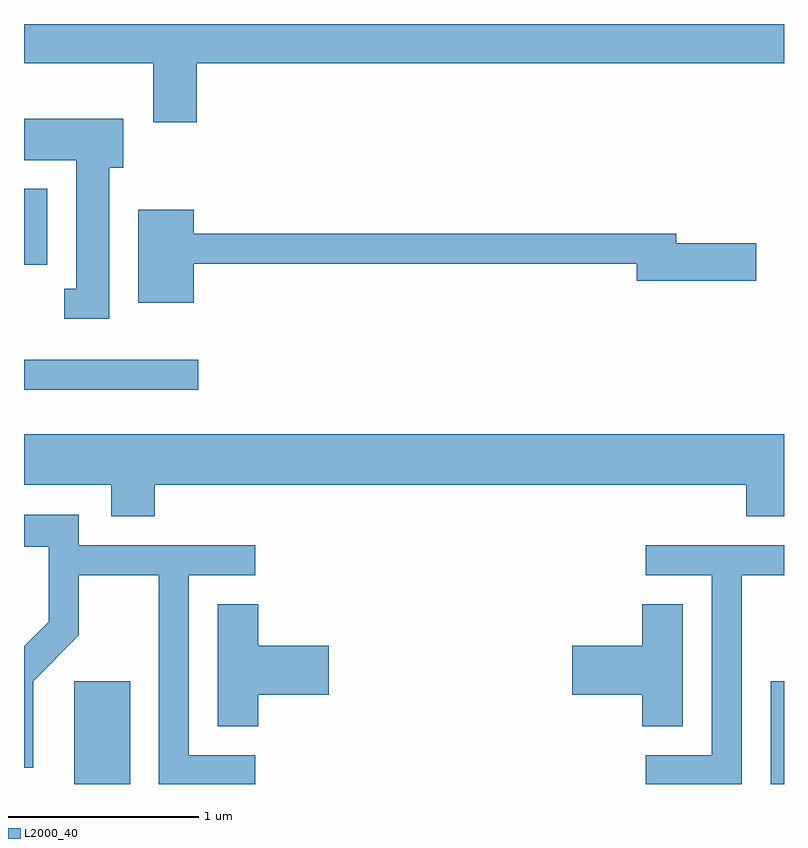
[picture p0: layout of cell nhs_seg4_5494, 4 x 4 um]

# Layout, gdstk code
import gdstk
lib = gdstk.Library(unit=1e-6, precision=1e-09)
def R(c, l, rs):  # rectangles x0, y0, x1, y1
    for r in rs: c.add(gdstk.rectangle(r[:2], r[2:], *l))
def P(c, l, *ps):  # polygons
    for p in ps: c.add(gdstk.Polygon(p, *l))
L2000_40 = (2000, 40)

nhs_seg4_5494 = lib.new_cell('nhs_seg4_5494')
R(nhs_seg4_5494, L2000_40, [(345.876,1361.982,346.169,1362.524), (349.541,1361.982,349.611,1362.524), (345.611,1364.056,346.528,1364.214), (345.611,1364.716,345.734,1365.114)])
P(nhs_seg4_5494, L2000_40, [(346.519,1365.776),(349.611,1365.776),(349.611,1365.982),(345.611,1365.982),(345.611,1365.776),(346.291,1365.776),(346.291,1365.466),(346.519,1365.466)],
  [(346.059,1365.226),(346.134,1365.226),(346.134,1365.484),(345.611,1365.484),(345.611,1365.266),(345.886,1365.266),(345.886,1364.589),(345.823,1364.589),(345.823,1364.431),(346.059,1364.431)],
  [(346.504,1364.721),(348.836,1364.721),(348.836,1364.631),(349.464,1364.631),(349.464,1364.829),(349.044,1364.829),(349.044,1364.879),(346.504,1364.879),(346.504,1365.004),(346.211,1365.004),(346.211,1364.516),(346.504,1364.516)],
  [(346.299,1363.556),(349.411,1363.556),(349.411,1363.391),(349.611,1363.391),(349.611,1363.824),(345.611,1363.824),(345.611,1363.556),(346.071,1363.556),(346.071,1363.391),(346.299,1363.391)],
  [(346.828,1362.134),(346.479,1362.134),(346.479,1363.081),(346.828,1363.081),(346.828,1363.239),(345.899,1363.239),(345.899,1363.399),(345.611,1363.399),(345.611,1363.231),(345.741,1363.231),(345.741,1362.837),(345.611,1362.707),(345.611,1362.068),(345.659,1362.068),(345.659,1362.524),(345.899,1362.764),(345.899,1363.081),(346.321,1363.081),(346.321,1361.982),(346.828,1361.982)],
  [(349.389,1363.081),(349.611,1363.081),(349.611,1363.239),(348.883,1363.239),(348.883,1363.081),(349.231,1363.081),(349.231,1362.134),(348.883,1362.134),(348.883,1361.982),(349.389,1361.982)],
  [(346.844,1362.451),(347.214,1362.451),(347.214,1362.709),(346.844,1362.709),(346.844,1362.929),(346.631,1362.929),(346.631,1362.286),(346.844,1362.286)],
  [(349.079,1362.929),(348.866,1362.929),(348.866,1362.709),(348.496,1362.709),(348.496,1362.451),(348.866,1362.451),(348.866,1362.286),(349.079,1362.286)])

lib.write_gds('nhs_seg4_5494.gds')
